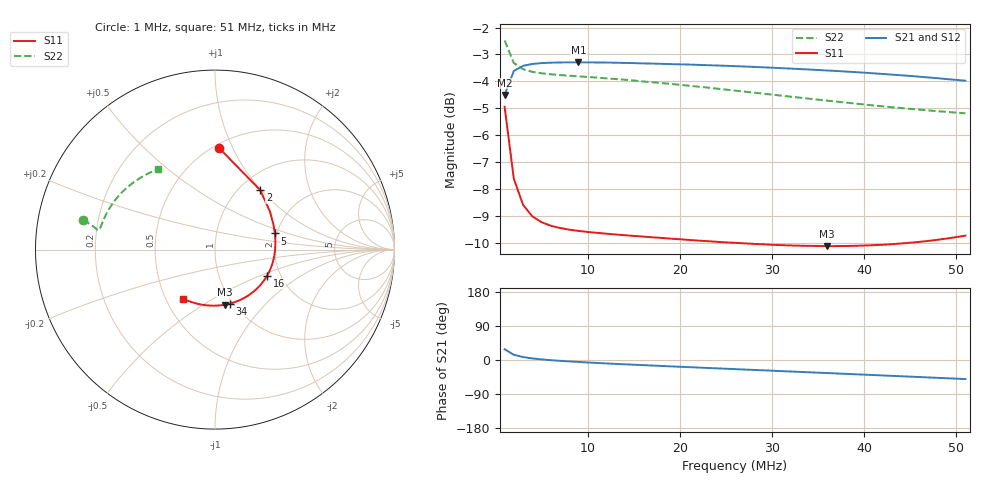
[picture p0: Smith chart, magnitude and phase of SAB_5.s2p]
# MHz S RI R 50
! S-Parameters data
! Freq  reS11  imS11  reS21  imS21  reS12  imS12  reS22  imS22
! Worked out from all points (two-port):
!   51 points, 1 MHz to 51 MHz, reference 50 ohm
!   highest |S21| = -3.29 dB at 9 MHz (marker M1); lowest = -4.5 dB at 1 MHz (marker M2)
!   |S21| within 3 dB of the highest: start of sweep to end of sweep
!   lowest |S11| = -10.1 dB at 36 MHz (marker M3), VSWR 1.91, Z = 45.7 - j31.1 ohm
!   |S11| at or under -10 dB: 25.95 MHz to 44.92 MHz (18.97 MHz wide, 53.5 % of centre)
!   |S22| runs from -5.2 to -2.5 dB; largest |S21 - S12| = 0.0023
!   S11 on the Smith chart (normalised r, x): 1 MHz: 0.53, +0.89; 2 MHz: 1.24, +0.99; 5 MHz: 1.95, +0.40; 16 MHz: 1.71, -0.55; 34 MHz: 0.97, -0.65; 51 MHz: 0.61, -0.37
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1  0.0234 0.5656  0.5238 0.2835  0.5217 0.2843  -0.7331 0.1666
2  0.2523 0.3307  0.6405 0.1581  0.6391 0.1594  -0.6714 0.1237
3  0.3065 0.2108  0.6681 0.0916  0.6671 0.0927  -0.6555 0.1102
4  0.3257 0.1391  0.678 0.0498  0.6772 0.0508  -0.648 0.1093
5  0.3335 0.0897  0.6821 0.0193  0.6812 0.0203  -0.6432 0.1142
6  0.3362 0.0521  0.6836 -0.00519  0.6826 -0.00406  -0.639 0.122
7  0.3362 0.0216  0.6837 -0.026  0.6829 -0.0249  -0.6349 0.1316
9  0.3316 -0.0272  0.6817 -0.0615  0.681 -0.0603  -0.6264 0.153
10  0.3278 -0.0479  0.68 -0.0776  0.6793 -0.0761  -0.6217 0.1643
13  0.3119 -0.1005  0.6727 -0.1209  0.6721 -0.1193  -0.6057 0.1987
16  0.2909 -0.1445  0.6626 -0.159  0.6622 -0.1588  -0.587 0.2312
18  0.2744 -0.1703  0.6549 -0.1837  0.6545 -0.1834  -0.5735 0.2524
22  0.2358 -0.2152  0.6367 -0.2307  0.6363 -0.2303  -0.5437 0.2914
26  0.1909 -0.252  0.6149 -0.2748  0.6145 -0.2745  -0.5119 0.3255
30  0.1401 -0.2805  0.5895 -0.3164  0.5893 -0.316  -0.4793 0.3548
34  0.0842 -0.3005  0.5607 -0.3555  0.5606 -0.3551  -0.4465 0.3796
35  0.0696 -0.3041  0.553 -0.3649  0.553 -0.3647  -0.4382 0.3853
36  0.0548 -0.3068  0.545 -0.3741  0.5451 -0.3738  -0.4301 0.3906
39  0.0092 -0.312  0.5202 -0.4006  0.5204 -0.4002  -0.4064 0.4054
43  -0.0533 -0.3098  0.4843 -0.433  0.4844 -0.4326  -0.3757 0.4219
47  -0.1163 -0.2968  0.4453 -0.462  0.4455 -0.4615  -0.347 0.4359
51  -0.178 -0.2732  0.4039 -0.4871  0.404 -0.4867  -0.3199 0.448
